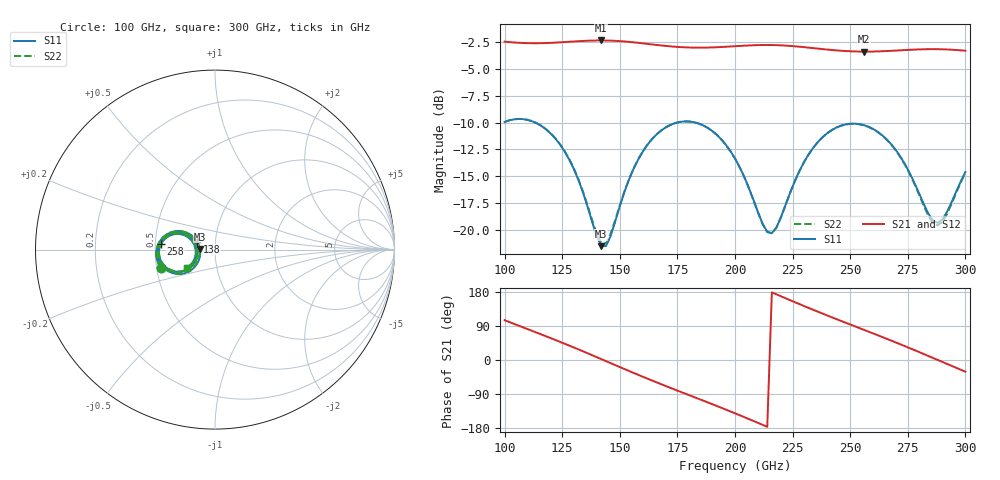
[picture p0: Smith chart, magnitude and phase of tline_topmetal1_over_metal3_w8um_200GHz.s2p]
#  GHZ S DB R 50
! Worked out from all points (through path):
!   101 points, 100 GHz to 300 GHz, reference 50 ohm
!   highest |S21| = -2.33 dB at 142 GHz (marker M1); lowest = -3.4 dB at 256 GHz (marker M2)
!   group delay of S21, straight-line fit = 6.89 ps
!   lowest |S11| = -21.5 dB at 142 GHz (marker M3), VSWR 1.18, Z = 42.3 + j0.33 ohm
!   |S11| at or under -10 dB: 113.3 GHz to 174.8 GHz (61.51 GHz wide, 42.7 % of centre); 182.9 GHz to end of sweep
!   |S22| runs from -21.3 to -9.6 dB; largest |S21 - S12| = 8.5e-14
!   S11 on the Smith chart (normalised r, x): 100 GHz: 0.53, -0.12; 138 GHz: 0.82, +0.07; 258 GHz: 0.54, +0.04; 300 GHz: 0.72, -0.15
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100  -9.94 -161.5  -2.44 105.1  -2.44 105.1  -9.94 -161.5
118  -10.63 165.8  -2.57 62.5  -2.57 62.5  -10.61 165.9
126  -12.67 153.6  -2.48 43.1  -2.48 43.1  -12.63 153.9
134  -16.50 148.7  -2.38 23.0  -2.38 23.0  -16.42 149.2
138  -19.27 155.6  -2.34 12.7  -2.34 12.7  -19.11 156.1
142  -21.52 177.4  -2.33 2.3  -2.33 2.3  -21.26 177.3
146  -20.60 -154.7  -2.35 -8.2  -2.35 -8.2  -20.40 -155.7
154  -15.31 -139.2  -2.46 -29.0  -2.46 -29.0  -15.26 -140.2
168  -10.73 -156.4  -2.80 -64.0  -2.80 -64.0  -10.72 -157.0
184  -10.07 176.4  -3.00 -102.0  -3.00 -102.0  -10.07 175.9
200  -13.34 153.8  -2.87 -140.6  -2.87 -140.6  -13.35 153.2
208  -17.20 154.3  -2.78 -160.9  -2.78 -160.9  -17.22 153.8
216  -20.30 -172.2  -2.76 178.4  -2.76 178.4  -20.34 -172.6
224  -16.49 -144.9  -2.84 157.7  -2.84 157.7  -16.51 -145.2
234  -12.33 -149.2  -3.05 132.3  -3.05 132.3  -12.33 -149.7
244  -10.45 -163.6  -3.26 108.0  -3.26 108.0  -10.46 -164.1
256  -10.23 177.3  -3.37 79.5  -3.37 79.5  -10.25 176.6
258  -10.39 174.2  -3.37 74.8  -3.37 74.8  -10.40 173.5
268  -12.06 160.3  -3.30 50.7  -3.30 50.7  -12.10 159.5
278  -15.68 155.5  -3.18 25.8  -3.18 25.8  -15.77 154.4
288  -19.35 -175.0  -3.15 0.1  -3.15 0.1  -19.59 -175.4
300  -14.60 -147.1  -3.29 -30.8  -3.29 -30.8  -14.68 -147.0
